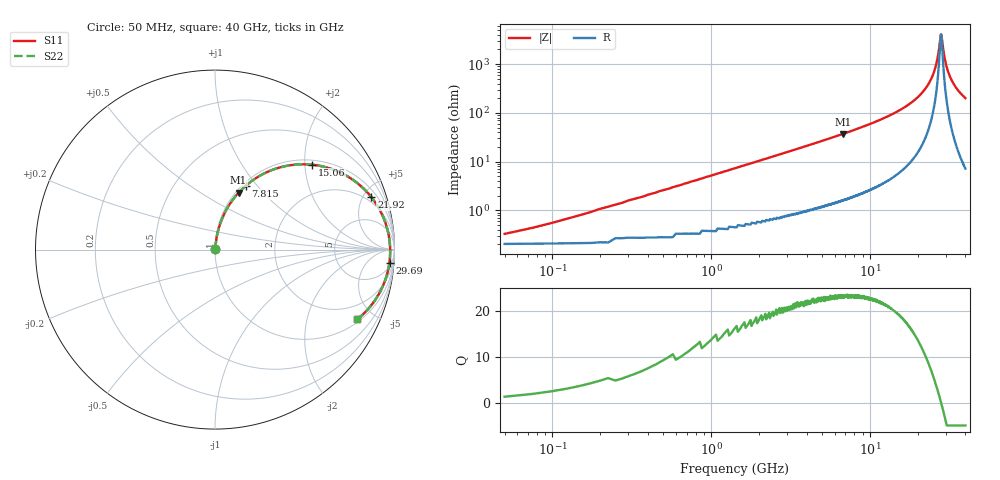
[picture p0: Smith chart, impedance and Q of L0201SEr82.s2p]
# MHZ S MA R 50
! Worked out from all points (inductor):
!   1601 points, 50 MHz to 40 GHz, reference 50 ohm
!   read as one part in series: L = 819 pH near 249.8 MHz
!   highest Q = 23.3 at 6.767 GHz (marker M1), where L = 871 pH
!   self-resonance near 28.1 GHz
!   S11 on the Smith chart (normalised r, x): 50 MHz: 1.00, +0.01; 7.815 GHz: 1.04, +0.87; 15.06 GHz: 1.11, +2.17; 21.92 GHz: 1.52, +5.73; 29.69 GHz: 8, -24; 40 GHz: 1.14, -4.02
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50  0.003312 50.8  0.998 -0.1  0.998 -0.1  0.003312 50.8
349.625  0.018 80.6  0.997 -1.0  0.997 -1.0  0.018 80.6
574.344  0.03 82.4  0.997 -1.7  0.997 -1.7  0.03 82.4
948.875  0.049 82.8  0.995 -2.8  0.995 -2.8  0.049 82.8
1573.094  0.081 81.9  0.992 -4.6  0.992 -4.6  0.081 81.9
3495.688  0.179 77.0  0.976 -10.3  0.976 -10.3  0.179 77.0
6716.656  0.34 67.7  0.926 -19.9  0.926 -19.9  0.34 67.7
6766.594  0.343 67.5  0.925 -20.0  0.925 -20.0  0.343 67.5
7815.281  0.394 64.3  0.902 -23.2  0.902 -23.2  0.394 64.3
13383.31  0.65 46.7  0.729 -40.5  0.729 -40.5  0.65 46.7
15056.22  0.718 41.2  0.66 -45.8  0.66 -45.8  0.718 41.2
20025  0.878 24.7  0.419 -61.1  0.419 -61.1  0.878 24.7
21922.62  0.919 18.5  0.319 -66.2  0.319 -66.2  0.919 18.5
24843.97  0.96 9.4  0.166 -71.3  0.166 -71.3  0.96 9.4
26691.66  0.972 4.0  0.074 -66.0  0.074 -66.0  0.972 4.0
27840.22  0.976 0.7  0.027 -26.9  0.027 -26.9  0.976 0.7
28139.84  0.976 -0.1  0.024 4.0  0.024 4.0  0.976 -0.1
29687.91  0.975 -4.2  0.077 68.6  0.077 68.6  0.975 -4.2
31161.06  0.969 -7.9  0.14 73.2  0.14 73.2  0.969 -7.9
33358.31  0.954 -13.1  0.228 71.9  0.228 71.9  0.954 -13.1
36279.66  0.926 -19.3  0.33 67.6  0.33 67.6  0.926 -19.3
40000  0.883 -26.0  0.439 61.9  0.439 61.9  0.883 -26.0
